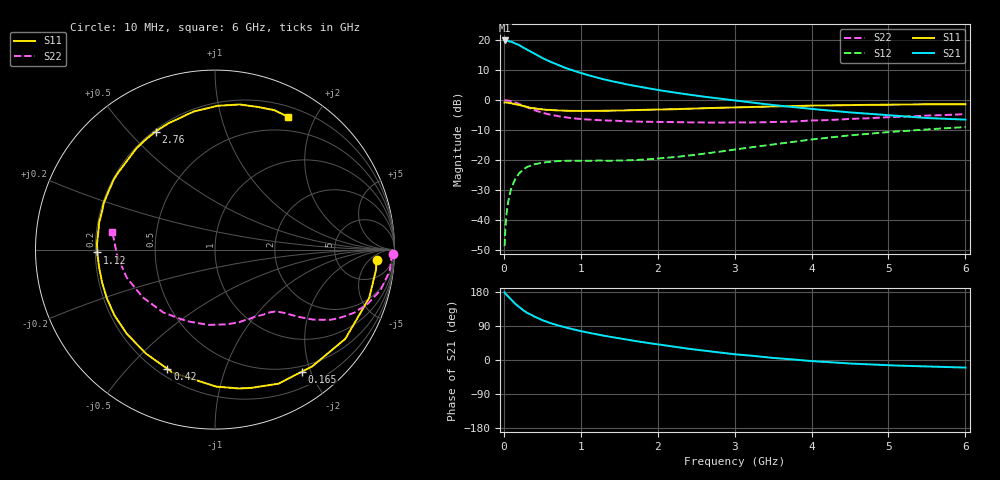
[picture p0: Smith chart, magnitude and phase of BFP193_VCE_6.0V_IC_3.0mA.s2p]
! Infineon Technologies  Discrete & RF Semiconductors
! BFP193
! VCE = 6.0 V,  IC =  3.0 mA
! Common Emitter S-Parameters:  Jan 2016
# GHz  S  MA  R  50
!  f  S11  S21  S12  S22
! GHz  MAG  ANG  MAG  ANG  MAG  ANG  MAG  ANG
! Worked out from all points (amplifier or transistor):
!   210 points, 10 MHz to 6 GHz, reference 50 ohm
!   highest |S21| = 19.7 dB at 10 MHz (marker M1)
!   |S21| within 3 dB of that: start of sweep to 298.2 MHz
!   unconditionally stable (mu >= 1): 1.473 GHz to 3.475 GHz
!   at 185 MHz: K = 0.15, MSG = 21.6 dB, |S12| = -24.9 dB
!   at 1.52 GHz: K = 1.02, MAG = 12.0 dB, |S12| = -20.2 dB
!   at 6 GHz: K = 0.92, MSG = 1.2 dB, |S12| = -9.0 dB
!   S11 on the Smith chart (normalised r, x): 10 MHz: 14, -9; 165 MHz: 0.42, -1.87; 420 MHz: 0.24, -0.65; 1.12 GHz: 0.21, -0.01; 2.76 GHz: 0.21, +0.60; 6 GHz: 0.32, +1.65
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0.01  0.9019 -3.6  9.694 178.8  0.0037 88.9  0.9925 -1.4
0.02  0.9042 -7.1  9.523 175.2  0.0074 86.5  0.9844 -2.8
0.04  0.8984 -14.0  9.514 171.0  0.0144 81.4  0.9812 -5.7
0.1  0.8798 -34.4  9.225 158.5  0.0347 72.1  0.9491 -13.8
0.15  0.8467 -50.2  8.642 147.8  0.0487 63.1  0.9022 -19.6
0.165  0.835 -54.5  8.466 145.4  0.0521 60.8  0.8864 -21.0
0.2  0.8263 -64.7  8.116 139.6  0.0602 56.5  0.8516 -24.4
0.26  0.7851 -80.2  7.302 130.2  0.0705 49.1  0.7887 -28.9
0.3  0.7635 -89.5  6.843 124.8  0.0764 45.7  0.7531 -31.3
0.42  0.7151 -111.8  5.647 112.6  0.086 36.9  0.6571 -36.1
0.5  0.6953 -123.7  4.948 105.0  0.0904 32.6  0.6093 -38.3
0.6  0.6793 -136.4  4.311 97.7  0.0938 29.0  0.567 -40.2
0.7  0.6694 -146.9  3.818 91.4  0.0959 26.3  0.5363 -41.7
1.02  0.653 -172.2  2.744 75.5  0.097 23.2  0.4777 -46.4
1.12  0.6558 -178.6  2.522 71.3  0.0973 23.0  0.4681 -48.1
1.6  0.6718 157.4  1.802 53.5  0.0987 26.5  0.4411 -57.1
2.02  0.6896 140.9  1.447 40.8  0.1062 32.7  0.427 -66.6
2.76  0.7352 116.8  1.064 20.9  0.1351 41.0  0.4185 -87.2
3.1  0.7529 107.9  0.942 13.4  0.1552 42.2  0.4198 -98.2
4.1  0.8036 87.3  0.687 -4.0  0.2266 37.7  0.456 -133.0
5.1  0.8319 72.0  0.544 -14.6  0.2969 26.2  0.5196 -165.4
6  0.8446 61.2  0.469 -20.0  0.3528 14.5  0.5796 170.3
